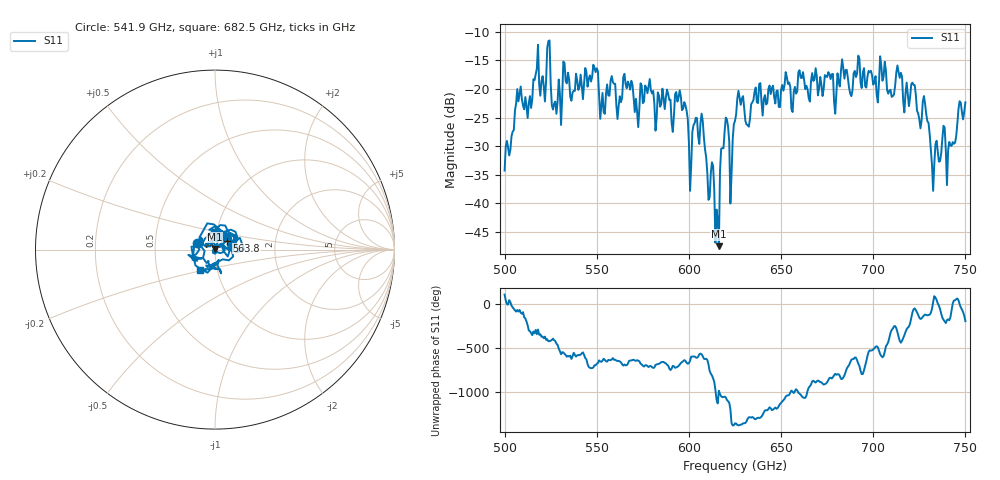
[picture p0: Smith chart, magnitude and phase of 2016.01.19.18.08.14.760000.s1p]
!Created with skrf (http://scikit-rf.org).
# GHz S RI R 50.0
!freq ReS11 ImS11
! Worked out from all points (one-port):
!   401 points, 500 GHz to 750 GHz, reference 50 ohm
!   lowest |S11| = -47.5 dB at 616.2 GHz (marker M1), VSWR 1.01, Z = 49.9 + j0.418 ohm
!   |S11| at or under -10 dB: start of sweep to end of sweep
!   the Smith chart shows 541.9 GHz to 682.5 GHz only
!   S11 on the Smith chart (normalised r, x): 541.9 GHz: 0.82, +0.06; 563.8 GHz: 1.14, +0.11; 682.5 GHz: 0.82, -0.19
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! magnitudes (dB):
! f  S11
! 500 GHz  -34.3
! 507.5 GHz  -22.2
! 513.8 GHz  -21.3
! 516.9 GHz  -17.5
! 520.6 GHz  -17.8
! 523.8 GHz  -11.6
! 526.9 GHz  -22.5
! 531.2 GHz  -21.3
! 541.9 GHz  -19.5
! 549.4 GHz  -17.1
! 562.5 GHz  -21.3
! 563.8 GHz  -21.6
! 593.8 GHz  -22.2
! 600.6 GHz  -37.8
! 607.5 GHz  -25.6
! 615 GHz  -41.1
! 616.2 GHz  -47.5
! 619.4 GHz  -27.4
! 623.1 GHz  -35.0
! 625 GHz  -25.6
! 656.2 GHz  -24.0
! 682.5 GHz  -16.8
! 687.5 GHz  -20.8
! 705 GHz  -18.6
! 718.8 GHz  -21.0
! 728.1 GHz  -22.6
! 732.5 GHz  -37.8
! 750 GHz  -22.3
